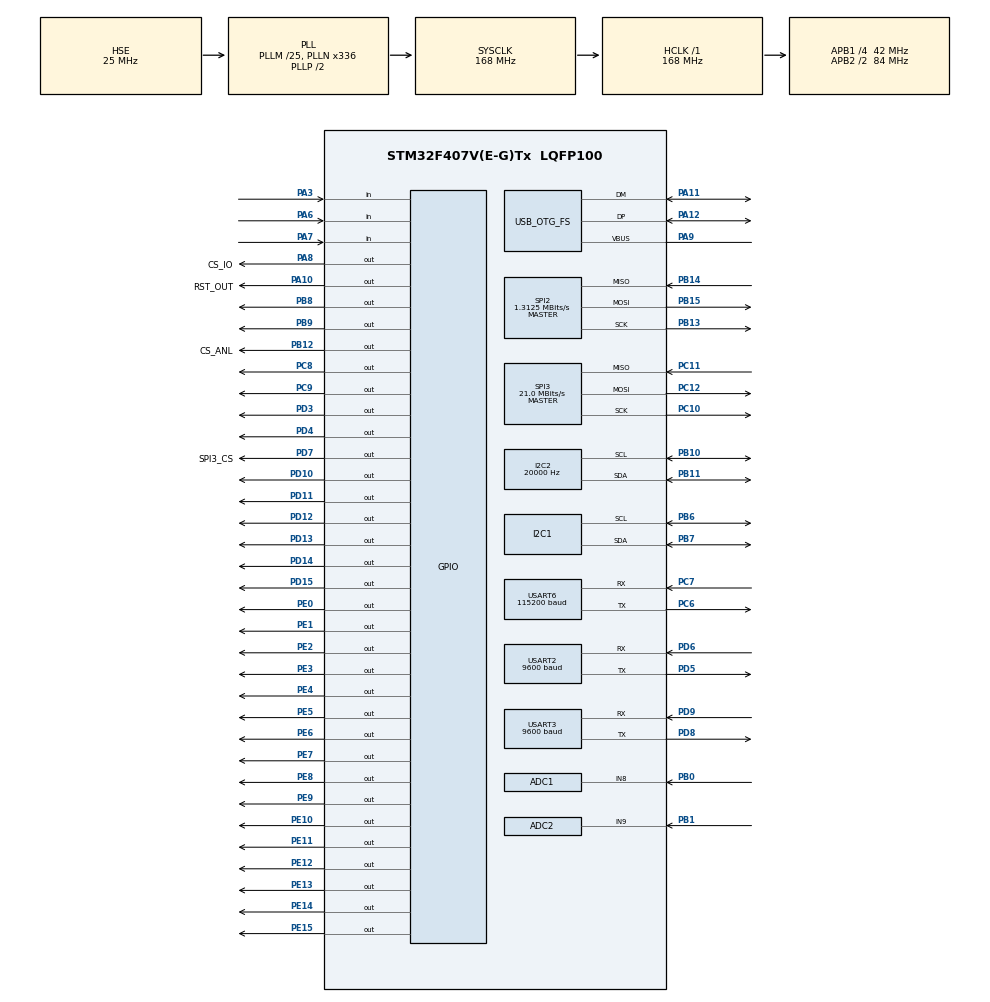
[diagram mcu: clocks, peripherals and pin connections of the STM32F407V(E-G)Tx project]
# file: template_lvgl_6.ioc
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ADC1.Channel-1\#ChannelRegularConversion=ADC_CHANNEL_8
ADC1.NbrOfConversionFlag=1
ADC1.Rank-1\#ChannelRegularConversion=1
ADC1.SamplingTime-1\#ChannelRegularConversion=ADC_SAMPLETIME_3CYCLES
ADC1.master=1
ADC2.Channel-0\#ChannelRegularConversion=ADC_CHANNEL_9
ADC2.NbrOfConversionFlag=1
ADC2.Rank-0\#ChannelRegularConversion=1
ADC2.SamplingTime-0\#ChannelRegularConversion=ADC_SAMPLETIME_480CYCLES
FREERTOS.Mutexes01=mainMutex,Dynamic,NULL
FREERTOS.Tasks01=defaultTask,0,512,StartDefaultTask,Default,NULL,Dynamic,NULL,NULL
FREERTOS.configTOTAL_HEAP_SIZE=49152
FREERTOS.configUSE_TIMERS=1
I2C2.ClockSpeed=20000
Mcu.Family=STM32F4
Mcu.Name=STM32F407V(E-G)Tx
Mcu.Package=LQFP100
NVIC.PriorityGroup=NVIC_PRIORITYGROUP_4
NVIC.TIM6_DAC_IRQn=true\:0\:0\:false\:false\:true\:false\:false\:true
NVIC.TimeBase=TIM6_DAC_IRQn
NVIC.TimeBaseIP=TIM6
PA0-WKUP.Mode=SYS_WakeUp0
PA0-WKUP.Signal=SYS_WKUP
PA1.Signal=ADCx_IN1
PA10.GPIO_Label=RST_OUT
PA10.GPIO_PuPd=GPIO_PULLUP
PA10.PinState=GPIO_PIN_SET
PA10.Signal=GPIO_Output
PA11.Mode=Host_Only
PA11.Signal=USB_OTG_FS_DM
PA12.Mode=Host_Only
PA12.Signal=USB_OTG_FS_DP
PA13.Signal=SYS_JTMS-SWDIO
PA14.Signal=SYS_JTCK-SWCLK
PA15.Signal=SYS_JTDI
PA2.Signal=ADCx_IN2
PA3.Signal=GPIO_Input
PA4.Signal=COMP_DAC1_group
PA5.Signal=COMP_DAC2_group
PA6.Signal=GPIO_Input
PA7.Signal=GPIO_Input
PA8.GPIO_Label=CS_IO
PA8.PinState=GPIO_PIN_SET
PA8.Signal=GPIO_Output
PA9.Mode=Activate_VBUS
PA9.Signal=USB_OTG_FS_VBUS
PB0.Signal=ADCx_IN8
PB1.Signal=ADCx_IN9
PB10.GPIO_Pu=GPIO_NOPULL
PB10.Mode=I2C
PB10.Signal=I2C2_SCL
PB11.GPIO_Pu=GPIO_NOPULL
PB11.Mode=I2C
PB11.Signal=I2C2_SDA
PB12.GPIO_Label=CS_ANL
PB12.GPIO_PuPd=GPIO_PULLUP
PB12.PinState=GPIO_PIN_SET
PB12.Signal=GPIO_Output
PB13.GPIO_PuPd=GPIO_PULLUP
PB13.Mode=Full_Duplex_Master
PB13.Signal=SPI2_SCK
PB14.GPIO_PuPd=GPIO_NOPULL
PB14.GPIO_Speed=GPIO_SPEED_FREQ_VERY_HIGH
PB14.Mode=Full_Duplex_Master
PB14.Signal=SPI2_MISO
PB15.Mode=Full_Duplex_Master
PB15.Signal=SPI2_MOSI
PB3.Signal=SYS_JTDO-SWO
PB6.GPIO_Pu=GPIO_NOPULL
PB6.Mode=I2C
PB6.Signal=I2C1_SCL
PB7.GPIO_Pu=GPIO_NOPULL
PB7.Mode=I2C
PB7.Signal=I2C1_SDA
PB8.GPIO_ModeDefaultOutputPP=GPIO_MODE_OUTPUT_PP
PB8.GPIO_PuPd=GPIO_NOPULL
PB8.GPIO_Speed=GPIO_SPEED_FREQ_VERY_HIGH
PB8.Signal=GPIO_Output
PB9.GPIO_ModeDefaultOutputPP=GPIO_MODE_OUTPUT_PP
PB9.GPIO_Speed=GPIO_SPEED_FREQ_VERY_HIGH
PB9.Signal=GPIO_Output
PC0.Signal=ADCx_IN10
PC1.Signal=ADCx_IN11
PC10.Mode=Full_Duplex_Master
PC10.Signal=SPI3_SCK
PC11.Mode=Full_Duplex_Master
PC11.Signal=SPI3_MISO
PC12.Mode=Full_Duplex_Master
PC12.Signal=SPI3_MOSI
PC14-OSC32_IN.Mode=LSE-External-Oscillator
PC14-OSC32_IN.Signal=RCC_OSC32_IN
PC15-OSC32_OUT.Mode=LSE-External-Oscillator
PC15-OSC32_OUT.Signal=RCC_OSC32_OUT
PC2.Signal=ADCx_IN12
PC3.Signal=ADCx_IN13
PC6.Mode=Multiprocessor_communication
PC6.Signal=USART6_TX
PC7.Mode=Multiprocessor_communication
PC7.Signal=USART6_RX
PC8.GPIO_Speed=GPIO_SPEED_FREQ_VERY_HIGH
PC8.Signal=GPIO_Output
PC9.GPIO_Speed=GPIO_SPEED_FREQ_VERY_HIGH
PC9.Signal=GPIO_Output
PD10.Signal=GPIO_Output
PD11.GPIO_Speed=GPIO_SPEED_FREQ_VERY_HIGH
PD11.Signal=GPIO_Output
PD12.GPIO_Speed=GPIO_SPEED_FREQ_VERY_HIGH
PD12.Signal=GPIO_Output
PD13.GPIO_Speed=GPIO_SPEED_FREQ_HIGH
PD13.Signal=GPIO_Output
PD14.GPIO_Speed=GPIO_SPEED_FREQ_HIGH
PD14.Signal=GPIO_Output
PD15.Signal=GPIO_Output
PD3.GPIO_Speed=GPIO_SPEED_FREQ_VERY_HIGH
PD3.Signal=GPIO_Output
PD4.Signal=GPIO_Output
PD5.Mode=Asynchronous
PD5.Signal=USART2_TX
PD6.Mode=Asynchronous
PD6.Signal=USART2_RX
PD7.GPIO_Label=SPI3_CS
PD7.PinState=GPIO_PIN_SET
PD7.Signal=GPIO_Output
PD8.Mode=Asynchronous
PD8.Signal=USART3_TX
PD9.Mode=Asynchronous
PD9.Signal=USART3_RX
PE0.GPIO_Speed=GPIO_SPEED_FREQ_VERY_HIGH
PE0.Signal=GPIO_Output
PE1.GPIO_Speed=GPIO_SPEED_FREQ_VERY_HIGH
PE1.Signal=GPIO_Output
PE10.GPIO_Speed=GPIO_SPEED_FREQ_VERY_HIGH
PE10.Signal=GPIO_Output
PE11.GPIO_Speed=GPIO_SPEED_FREQ_VERY_HIGH
PE11.Signal=GPIO_Output
PE12.GPIO_Speed=GPIO_SPEED_FREQ_VERY_HIGH
PE12.Signal=GPIO_Output
PE13.GPIO_Speed=GPIO_SPEED_FREQ_VERY_HIGH
PE13.Signal=GPIO_Output
PE14.GPIO_Speed=GPIO_SPEED_FREQ_VERY_HIGH
PE14.Signal=GPIO_Output
PE15.GPIO_Speed=GPIO_SPEED_FREQ_VERY_HIGH
PE15.Signal=GPIO_Output
PE2.GPIO_Speed=GPIO_SPEED_FREQ_VERY_HIGH
PE2.Signal=GPIO_Output
PE3.GPIO_Speed=GPIO_SPEED_FREQ_VERY_HIGH
PE3.Signal=GPIO_Output
PE4.GPIO_Speed=GPIO_SPEED_FREQ_VERY_HIGH
PE4.Signal=GPIO_Output
PE5.GPIO_Speed=GPIO_SPEED_FREQ_VERY_HIGH
PE5.Signal=GPIO_Output
PE6.GPIO_Speed=GPIO_SPEED_FREQ_VERY_HIGH
PE6.Signal=GPIO_Output
PE7.GPIO_Speed=GPIO_SPEED_FREQ_VERY_HIGH
PE7.Signal=GPIO_Output
PE8.GPIO_Speed=GPIO_SPEED_FREQ_VERY_HIGH
PE8.Signal=GPIO_Output
PE9.GPIO_Speed=GPIO_SPEED_FREQ_VERY_HIGH
PE9.Signal=GPIO_Output
PH0-OSC_IN.Mode=HSE-External-Oscillator
PH0-OSC_IN.Signal=RCC_OSC_IN
PH1-OSC_OUT.Mode=HSE-External-Oscillator
PH1-OSC_OUT.Signal=RCC_OSC_OUT
ProjectManager.HeapSize=0x200
ProjectManager.StackSize=0x400
ProjectManager.TargetToolchain=Makefile
RCC.48MHZClocksFreq_Value=48000000
RCC.AHBFreq_Value=168000000
RCC.APB1CLKDivider=RCC_HCLK_DIV4
RCC.APB1Freq_Value=42000000
RCC.APB1TimFreq_Value=84000000
RCC.APB2CLKDivider=RCC_HCLK_DIV2
RCC.APB2Freq_Value=84000000
RCC.APB2TimFreq_Value=168000000
RCC.CortexFreq_Value=168000000
RCC.HCLKFreq_Value=168000000
RCC.HSE_VALUE=25000000
RCC.HSI_VALUE=16000000
RCC.PLLM=25
RCC.PLLN=336
RCC.PLLQ=7
RCC.RCC_RTC_Clock_Source=RCC_RTCCLKSOURCE_LSE
RCC.RCC_RTC_Clock_SourceVirtual=RCC_RTCCLKSOURCE_LSE
RCC.SYSCLKFreq_VALUE=168000000
RCC.SYSCLKSource=RCC_SYSCLKSOURCE_PLLCLK
RCC.VCOOutputFreq_Value=336000000
SH.ADCx_IN1.0=ADC1_IN1
SH.ADCx_IN10.0=ADC1_IN10
SH.ADCx_IN11.0=ADC1_IN11
SH.ADCx_IN12.0=ADC1_IN12
SH.ADCx_IN13.0=ADC1_IN13
SH.ADCx_IN2.0=ADC1_IN2
SH.ADCx_IN8.0=ADC1_IN8,IN8
SH.ADCx_IN9.0=ADC2_IN9,IN9
SH.COMP_DAC1_group.0=DAC_OUT1
SH.COMP_DAC2_group.0=DAC_OUT2
SPI2.BaudRatePrescaler=SPI_BAUDRATEPRESCALER_32
SPI2.CLKPhase=SPI_PHASE_2EDGE
SPI2.CLKPolarity=SPI_POLARITY_HIGH
SPI2.CalculateBaudRate=1.3125 MBits/s
SPI2.Direction=SPI_DIRECTION_2LINES
SPI2.Mode=SPI_MODE_MASTER
SPI2.VirtualType=VM_MASTER
SPI3.BaudRatePrescaler=SPI_BAUDRATEPRESCALER_2
SPI3.CalculateBaudRate=21.0 MBits/s
SPI3.Direction=SPI_DIRECTION_2LINES
SPI3.Mode=SPI_MODE_MASTER
SPI3.VirtualType=VM_MASTER
USART2.BaudRate=9600
USART2.VirtualMode=VM_ASYNC
USART3.BaudRate=9600
USART3.VirtualMode=VM_ASYNC
USART6.BaudRate=115200
USART6.VirtualMode=VM_ASYNC
USB_OTG_FS.VirtualMode=Host_Only
USB_OTG_FS.phy_itface=HCD_PHY_EMBEDDED
VP_FREERTOS_VS_CMSIS_V1.Mode=CMSIS_V1
VP_RTC_VS_RTC_Activate.Mode=RTC_Enabled
VP_SYS_VS_tim6.Mode=TIM6
board=custom

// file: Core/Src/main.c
/* USER CODE BEGIN Header */
/**
  ******************************************************************************
  * @file           : main.c
  * @brief          : Main program body
  ******************************************************************************
  * @attention
  *
  * <h2><center>&copy; Copyright (c) 2021 STMicroelectronics.
  * All rights reserved.</center></h2>
  *
  * This software component is licensed by ST under Ultimate Liberty license
  * SLA0044, the "License"; You may not use this file except in compliance with
  * the License. You may obtain a copy of the License at:
  *                             www.st.com/SLA0044
  *
  ******************************************************************************
  */
/* USER CODE END Header */
#include "main.h"
#include "cmsis_os.h"
#include "adc.h"
#include "i2c.h"
#include "rtc.h"
#include "spi.h"
#include "usart.h"
#include "usb_otg.h"
#include "gpio.h"

/* USER CODE BEGIN Includes */
#include "lvgl.h"
#include "ssd1963.h"
#include "touchscreen.h"
/* USER CODE END Includes */

/* USER CODE BEGIN PTD */
static void lvgl_configure(void);
/* USER CODE END PTD */

void SystemClock_Config(void);
void MX_FREERTOS_Init(void);

int main(void)
{

  /* MCU Configuration--------------------------------------------------------*/

  /* Reset of all peripherals, Initializes the Flash interface and the Systick. */
  HAL_Init();

  /* Configure the system clock */
  SystemClock_Config();

  /* Initialize all configured peripherals */
  MX_GPIO_Init();
  MX_USART2_UART_Init();
  MX_ADC1_Init();
  MX_I2C1_Init();
  MX_I2C2_Init();
  MX_USART3_UART_Init();
  MX_USART6_UART_Init();
  MX_USB_OTG_FS_HCD_Init();
  MX_ADC2_Init();
  MX_RTC_Init();
  MX_SPI2_Init();
  MX_SPI3_Init();
  /* USER CODE BEGIN 2 */
  ssd1963_init();
  enable_backlight(GPIO_PIN_SET);
  lv_init();
  lvgl_configure();
  /* USER CODE END 2 */

  /* Call init function for freertos objects (in freertos.c) */
  MX_FREERTOS_Init();
  /* Start scheduler */
  osKernelStart();

  /* We should never get here as control is now taken by the scheduler */
  /* Infinite loop */
  while (1)
  {

  }
}

void SystemClock_Config(void)
{
  RCC_OscInitTypeDef RCC_OscInitStruct = {0};
  RCC_ClkInitTypeDef RCC_ClkInitStruct = {0};

  /** Configure the main internal regulator output voltage
  */
  __HAL_RCC_PWR_CLK_ENABLE();
  __HAL_PWR_VOLTAGESCALING_CONFIG(PWR_REGULATOR_VOLTAGE_SCALE1);
  /** Initializes the RCC Oscillators according to the specified parameters
  * in the RCC_OscInitTypeDef structure.
  */
  RCC_OscInitStruct.OscillatorType = RCC_OSCILLATORTYPE_HSE|RCC_OSCILLATORTYPE_LSE;
  RCC_OscInitStruct.HSEState = RCC_HSE_ON;
  RCC_OscInitStruct.LSEState = RCC_LSE_ON;
  RCC_OscInitStruct.PLL.PLLState = RCC_PLL_ON;
  RCC_OscInitStruct.PLL.PLLSource = RCC_PLLSOURCE_HSE;
  RCC_OscInitStruct.PLL.PLLM = 25;
  RCC_OscInitStruct.PLL.PLLN = 336;
  RCC_OscInitStruct.PLL.PLLP = RCC_PLLP_DIV2;
  RCC_OscInitStruct.PLL.PLLQ = 7;
  if (HAL_RCC_OscConfig(&RCC_OscInitStruct) != HAL_OK)
  {
    Error_Handler();
  }
  /** Initializes the CPU, AHB and APB buses clocks
  */
  RCC_ClkInitStruct.ClockType = RCC_CLOCKTYPE_HCLK|RCC_CLOCKTYPE_SYSCLK
                              |RCC_CLOCKTYPE_PCLK1|RCC_CLOCKTYPE_PCLK2;
  RCC_ClkInitStruct.SYSCLKSource = RCC_SYSCLKSOURCE_PLLCLK;
  RCC_ClkInitStruct.AHBCLKDivider = RCC_SYSCLK_DIV1;
  RCC_ClkInitStruct.APB1CLKDivider = RCC_HCLK_DIV4;
  RCC_ClkInitStruct.APB2CLKDivider = RCC_HCLK_DIV2;

  if (HAL_RCC_ClockConfig(&RCC_ClkInitStruct, FLASH_LATENCY_5) != HAL_OK)
  {
    Error_Handler();
  }
}

/* USER CODE BEGIN 4 */
static void lvgl_configure() {
    static lv_disp_drv_t disp_drv;
    static lv_color_t disp_buf1[800 * 10];
    static lv_disp_buf_t buf;
    lv_disp_buf_init(&buf, disp_buf1, NULL,  800 * 10);
    lv_disp_drv_init(&disp_drv);

    disp_drv.buffer = &buf;
    disp_drv.flush_cb = ssd1963_flush;
    lv_disp_drv_register(&disp_drv);

    lv_indev_drv_t indev_drv;
    lv_indev_drv_init(&indev_drv);
    indev_drv.type = LV_INDEV_TYPE_POINTER;
    indev_drv.read_cb = read_touch;
    lv_indev_drv_register(&indev_drv);
}
/* USER CODE END 4 */

void HAL_TIM_PeriodElapsedCallback(TIM_HandleTypeDef *htim)
{
  if (htim->Instance == TIM6) {
    HAL_IncTick();
  }
}

void Error_Handler(void)
{
}

/************************ (C) COPYRIGHT STMicroelectronics *****END OF FILE****/

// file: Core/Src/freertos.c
/* USER CODE BEGIN Header */
/**
  ******************************************************************************
  * File Name          : freertos.c
  * Description        : Code for freertos applications
  ******************************************************************************
  * @attention
  *
  * <h2><center>&copy; Copyright (c) 2021 STMicroelectronics.
  * All rights reserved.</center></h2>
  *
  * This software component is licensed by ST under Ultimate Liberty license
  * SLA0044, the "License"; You may not use this file except in compliance with
  * the License. You may obtain a copy of the License at:
  *                             www.st.com/SLA0044
  *
  ******************************************************************************
  */
/* USER CODE END Header */

#include "FreeRTOS.h"
#include "task.h"
#include "main.h"
#include "cmsis_os.h"

/* USER CODE BEGIN Includes */
#include "lvgl.h"
#include "log.h"
#include "touchscreen.h"
#include "gui_home.h"
#include "gui_keyboard.h"
/* USER CODE END Includes */

osThreadId defaultTaskHandle;
osMutexId mainMutexHandle;

void StartDefaultTask(void const * argument);

void MX_FREERTOS_Init(void); /* (MISRA C 2004 rule 8.1) */

/* GetIdleTaskMemory prototype (linked to static allocation support) */
void vApplicationGetIdleTaskMemory( StaticTask_t **ppxIdleTaskTCBBuffer, StackType_t **ppxIdleTaskStackBuffer, uint32_t *pulIdleTaskStackSize );

/* GetTimerTaskMemory prototype (linked to static allocation support) */
void vApplicationGetTimerTaskMemory( StaticTask_t **ppxTimerTaskTCBBuffer, StackType_t **ppxTimerTaskStackBuffer, uint32_t *pulTimerTaskStackSize );

/* USER CODE BEGIN GET_IDLE_TASK_MEMORY */
static StaticTask_t xIdleTaskTCBBuffer;
static StackType_t xIdleStack[configMINIMAL_STACK_SIZE];

void vApplicationGetIdleTaskMemory( StaticTask_t **ppxIdleTaskTCBBuffer, StackType_t **ppxIdleTaskStackBuffer, uint32_t *pulIdleTaskStackSize )
{
  *ppxIdleTaskTCBBuffer = &xIdleTaskTCBBuffer;
  *ppxIdleTaskStackBuffer = &xIdleStack[0];
  *pulIdleTaskStackSize = configMINIMAL_STACK_SIZE;
  /* place for user code */
}
/* USER CODE END GET_IDLE_TASK_MEMORY */

/* USER CODE BEGIN GET_TIMER_TASK_MEMORY */
static StaticTask_t xTimerTaskTCBBuffer;
static StackType_t xTimerStack[configTIMER_TASK_STACK_DEPTH];

void vApplicationGetTimerTaskMemory( StaticTask_t **ppxTimerTaskTCBBuffer, StackType_t **ppxTimerTaskStackBuffer, uint32_t *pulTimerTaskStackSize )
{
  *ppxTimerTaskTCBBuffer = &xTimerTaskTCBBuffer;
  *ppxTimerTaskStackBuffer = &xTimerStack[0];
  *pulTimerTaskStackSize = configTIMER_TASK_STACK_DEPTH;
  /* place for user code */
}

void lv_tick_callback(TimerHandle_t argument);
xTimerHandle lv_x_timer;

/* USER CODE END GET_TIMER_TASK_MEMORY */

void MX_FREERTOS_Init(void) {
  /* Create the mutex(es) */
  /* definition and creation of mainMutex */
  osMutexDef(mainMutex);
  mainMutexHandle = osMutexCreate(osMutex(mainMutex));

  /* USER CODE BEGIN RTOS_TIMERS */
  /* start timers, add new ones, ... */
  lv_x_timer = xTimerCreate("lv_tick_timer", pdMS_TO_TICKS(1), pdTRUE, NULL, lv_tick_callback);
  xTimerStart(lv_x_timer, 0);
  /* USER CODE END RTOS_TIMERS */

  /* Create the thread(s) */
  /* definition and creation of defaultTask */
  osThreadDef(defaultTask, StartDefaultTask, osPriorityNormal, 0, 1024);
  defaultTaskHandle = osThreadCreate(osThread(defaultTask), NULL);

}

void StartDefaultTask(void const * argument)
{
  /* USER CODE BEGIN StartDefaultTask */
  #ifdef HOME_SCR
    home_screen();
  #elif defined KEYBOARD_SCR
    keyboard_screen();
  #endif
  /* Infinite loop */
  for(;;)
  {
    ad_touch_handler();
    lv_task_handler();
    osDelay(1);
  }
  /* USER CODE END StartDefaultTask */
}

/* USER CODE BEGIN Application */
void lv_tick_callback(TimerHandle_t argument) {
  lv_tick_inc(1);
}
/* USER CODE END Application */

/************************ (C) COPYRIGHT STMicroelectronics *****END OF FILE****/
